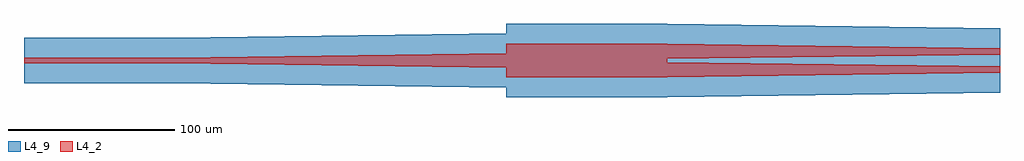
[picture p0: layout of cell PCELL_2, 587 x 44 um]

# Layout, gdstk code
from math import pi, radians
import gdstk
lib = gdstk.Library(unit=1e-6, precision=5e-09)
def R(c, l, rs):  # rectangles x0, y0, x1, y1
    for r in rs: c.add(gdstk.rectangle(r[:2], r[2:], *l))
def P(c, l, *ps):  # polygons
    for p in ps: c.add(gdstk.Polygon(p, *l))
L4_2 = (4, 2)
L4_9 = (4, 9)

mmi_1x2_tapered_2_mmi_mm = lib.new_cell('MMI_1x2_tapered_2_MMI_mmi_trace')
R(mmi_1x2_tapered_2_mmi_mm, L4_2, [(0,-10,97,10)])
P(mmi_1x2_tapered_2_mmi_mm, L4_9, [(0,-22),(97,-22),(97,-10),(97,10),(97,22),(0,22),(0,10),(0,-10)])

mmi_1x2_tapered_2_transi = lib.new_cell('MMI_1x2_tapered_2_TRANSITION1')
P(mmi_1x2_tapered_2_transi, L4_2, [(97,-1),(97,-10),(297,-7.4),(297,-3.6)])
P(mmi_1x2_tapered_2_transi, L4_9, [(97,11),(97,-1),(97,-10),(97,-22),(297,-19.4),(297,-7.4),(297,-3.6),(297,8.4)])

c_mmi_1x2_tapered_2_transi = lib.new_cell('MMI_1x2_tapered_2_TRANSITION2')
P(c_mmi_1x2_tapered_2_transi, L4_2, [(97,10),(97,1),(297,3.6),(297,7.4)])
P(c_mmi_1x2_tapered_2_transi, L4_9, [(97,22),(97,10),(97,1),(97,-11),(297,-8.4),(297,3.6),(297,7.4),(297,19.4)])

mmi_1x2_tapered_2 = lib.new_cell('MMI_1x2_tapered_2')
mmi_1x2_tapered_2.add(gdstk.Reference(mmi_1x2_tapered_2_mmi_mm, (0,0)))
mmi_1x2_tapered_2.add(gdstk.Reference(mmi_1x2_tapered_2_transi, (0,0)))
mmi_1x2_tapered_2.add(gdstk.Reference(c_mmi_1x2_tapered_2_transi, (0,0)))

transition_wire_wire_lin = lib.new_cell('TRANSITION_WIRE_WIRE_LINEAR_2')
P(transition_wire_wire_lin, L4_2, [(0,4.5),(0,-4.5),(200,-1.55),(200,1.55)])
P(transition_wire_wire_lin, L4_9, [(0,16.5),(0,4.5),(0,-4.5),(0,-16.5),(200,-13.55),(200,-1.55),(200,1.55),(200,13.55)])

narrow = lib.new_cell('narrow')
R(narrow, L4_2, [(0,-1.55,90,1.55)])
P(narrow, L4_9, [(0,-13.55),(90,-13.55),(90,-1.55),(90,1.55),(90,13.55),(0,13.55),(0,1.55),(0,-1.55)])

pcell_2 = lib.new_cell('PCELL_2')
pcell_2.add(gdstk.Reference(mmi_1x2_tapered_2, (290,0)))
pcell_2.add(gdstk.Reference(transition_wire_wire_lin, (290,0), rotation=pi, x_reflection=True))
pcell_2.add(gdstk.Reference(narrow, (0,0)))

lib.write_gds('PCELL_2.gds')
